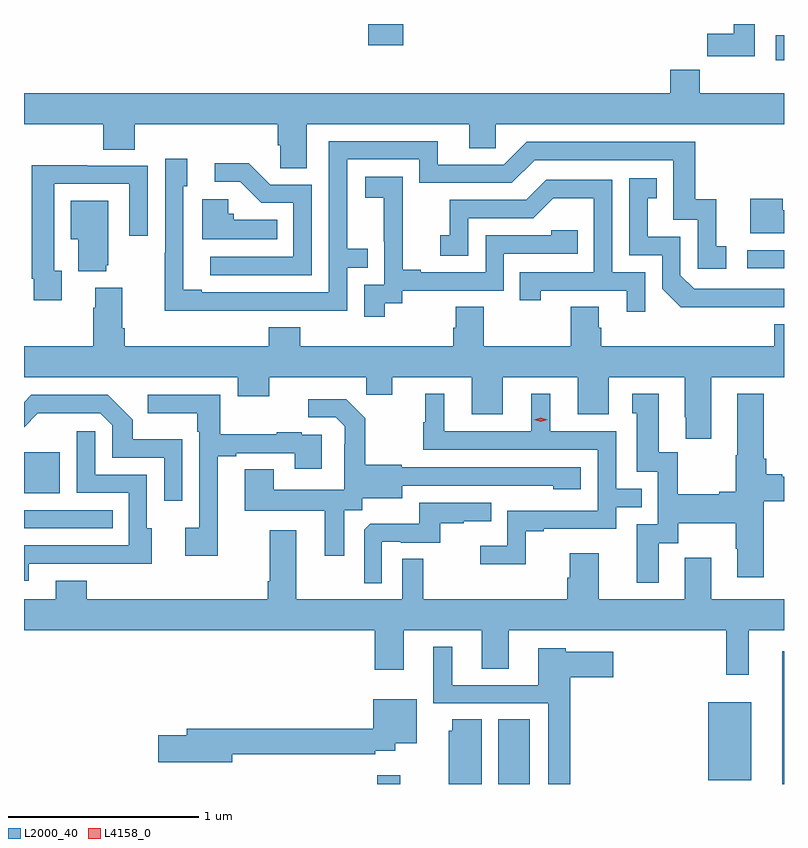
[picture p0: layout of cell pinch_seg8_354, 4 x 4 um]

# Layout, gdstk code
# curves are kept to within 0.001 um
import gdstk
lib = gdstk.Library(unit=1e-6, precision=1e-09)
def R(c, l, rs):  # rectangles x0, y0, x1, y1
    for r in rs: c.add(gdstk.rectangle(r[:2], r[2:], *l))
def P(c, l, *ps):  # polygons
    for p in ps: c.add(gdstk.Polygon(p, *l))
L2000_40 = (2000, 40)
L4158_0 = (4158, 0)

pinch_seg8_354 = lib.new_cell('pinch_seg8_354')
R(pinch_seg8_354, L2000_40, [(432.445,1098.376,432.566,1098.421), (433.082,1098.376,433.246,1098.716), (434.576,1098.376,434.585,1099.075), (434.186,1098.395,434.413,1098.805), (430.585,1099.722,431.051,1099.818), (430.585,1099.907,430.774,1100.122), (434.391,1101.09,434.585,1101.186), (434.541,1102.184,434.585,1102.318), (432.398,1102.263,432.581,1102.376)])
P(pinch_seg8_354, L2000_40, [(434.431,1102.376),(434.321,1102.376),(434.321,1102.324),(434.182,1102.324),(434.182,1102.206),(434.431,1102.206)],
  [(434.585,1102.012),(434.141,1102.012),(434.141,1102.136),(433.985,1102.136),(433.985,1102.012),(430.585,1102.012),(430.585,1101.848),(431.003,1101.848),(431.003,1101.715),(431.168,1101.715),(431.168,1101.848),(431.921,1101.848),(431.921,1101.739),(431.934,1101.739),(431.934,1101.616),(432.073,1101.616),(432.073,1101.848),(432.929,1101.848),(432.929,1101.721),(433.068,1101.721),(433.068,1101.848),(434.585,1101.848)],
  [(431.789,1100.868),(432.285,1100.868),(432.285,1101.093),(432.395,1101.093),(432.395,1101.194),(432.285,1101.194),(432.285,1101.663),(432.666,1101.663),(432.666,1101.54),(433.152,1101.54),(433.272,1101.66),(434.001,1101.66),(434.001,1101.345),(434.13,1101.345),(434.13,1101.087),(434.281,1101.087),(434.281,1101.207),(434.228,1101.207),(434.228,1101.454),(434.117,1101.454),(434.117,1101.756),(433.23,1101.756),(433.11,1101.636),(432.763,1101.636),(432.763,1101.759),(432.189,1101.759),(432.189,1100.964),(431.521,1100.964),(431.521,1100.977),(431.424,1100.977),(431.424,1101.522),(431.443,1101.522),(431.443,1101.667),(431.328,1101.667),(431.328,1101.173),(431.326,1101.173),(431.326,1100.867)],
  [(432.099,1101.531),(431.88,1101.531),(431.767,1101.644),(431.589,1101.644),(431.589,1101.546),(431.723,1101.546),(431.834,1101.435),(432.003,1101.435),(432.003,1101.15),(431.565,1101.15),(431.565,1101.054),(432.099,1101.054)],
  [(430.783,1101.078),(430.743,1101.078),(430.743,1101.534),(431.139,1101.534),(431.139,1101.261),(431.235,1101.261),(431.235,1101.63),(430.919,1101.63),(430.919,1101.632),(430.627,1101.632),(430.627,1101.034),(430.635,1101.034),(430.635,1100.922),(430.783,1100.922)],
  [(432.484,1100.905),(432.576,1100.905),(432.576,1100.973),(433.11,1100.973),(433.11,1101.168),(433.499,1101.168),(433.499,1101.291),(433.359,1101.291),(433.359,1101.264),(433.014,1101.264),(433.014,1101.069),(432.673,1101.069),(432.673,1101.082),(432.578,1101.082),(432.578,1101.365),(432.579,1101.365),(432.579,1101.571),(432.381,1101.571),(432.381,1101.461),(432.479,1101.461),(432.479,1101.233),(432.48,1101.233),(432.48,1101.003),(432.375,1101.003),(432.375,1100.835),(432.484,1100.835)],
  [(434.45,1100.886),(434.585,1100.886),(434.585,1100.982),(434.112,1100.982),(434.04,1101.054),(434.04,1101.255),(433.867,1101.255),(433.867,1101.459),(433.916,1101.459),(433.916,1101.565),(433.77,1101.565),(433.77,1101.159),(433.944,1101.159),(433.944,1100.982),(434.042,1100.885)],
  [(433.854,1101.069),(433.68,1101.069),(433.68,1101.555),(433.334,1101.555),(433.229,1101.45),(432.826,1101.45),(432.826,1101.265),(432.777,1101.265),(432.777,1101.156),(432.924,1101.156),(432.924,1101.354),(433.266,1101.354),(433.37,1101.458),(433.584,1101.458),(433.584,1101.069),(433.195,1101.069),(433.195,1100.922),(433.306,1100.922),(433.306,1100.973),(433.757,1100.973),(433.757,1100.862),(433.854,1100.862)],
  [(434.585,1101.397),(434.579,1101.397),(434.579,1101.457),(434.408,1101.457),(434.408,1101.275),(434.585,1101.275)],
  [(431.918,1101.346),(431.688,1101.346),(431.688,1101.378),(431.661,1101.378),(431.661,1101.454),(431.522,1101.454),(431.522,1101.242),(431.918,1101.242)],
  [(431.018,1101.105),(431.029,1101.105),(431.029,1101.445),(430.832,1101.445),(430.832,1101.242),(430.871,1101.242),(430.871,1101.074),(431.018,1101.074)],
  [(434.203,1100.516),(434.585,1100.516),(434.585,1100.797),(434.534,1100.797),(434.534,1100.68),(433.622,1100.68),(433.622,1100.778),(433.609,1100.778),(433.609,1100.888),(433.462,1100.888),(433.462,1100.68),(433.005,1100.68),(433.005,1100.888),(432.857,1100.888),(432.857,1100.778),(432.845,1100.778),(432.845,1100.68),(432.038,1100.68),(432.038,1100.779),(431.873,1100.779),(431.873,1100.68),(431.114,1100.68),(431.114,1100.776),(431.101,1100.776),(431.101,1100.989),(430.961,1100.989),(430.961,1100.882),(430.949,1100.882),(430.949,1100.68),(430.585,1100.68),(430.585,1100.516),(431.711,1100.516),(431.711,1100.417),(431.875,1100.417),(431.875,1100.516),(432.385,1100.516),(432.385,1100.426),(432.523,1100.426),(432.523,1100.516),(432.941,1100.516),(432.941,1100.322),(433.105,1100.322),(433.105,1100.516),(433.499,1100.516),(433.499,1100.322),(433.663,1100.322),(433.663,1100.516),(434.063,1100.516),(434.063,1100.305),(434.067,1100.305),(434.067,1100.193),(434.203,1100.193)],
  [(433.927,1099.642),(434.029,1099.642),(434.029,1099.748),(434.332,1099.748),(434.332,1099.614),(434.339,1099.614),(434.339,1099.464),(434.479,1099.464),(434.479,1099.864),(434.585,1099.864),(434.585,1099.993),(434.575,1099.993),(434.575,1100.006),(434.492,1100.006),(434.492,1100.089),(434.479,1100.089),(434.479,1100.431),(434.339,1100.431),(434.339,1100.105),(434.332,1100.105),(434.332,1099.913),(434.243,1099.913),(434.243,1099.9),(434.025,1099.9),(434.025,1100.123),(433.927,1100.123),(433.927,1100.431),(433.787,1100.431),(433.787,1100.328),(433.811,1100.328),(433.811,1100.019),(433.92,1100.019),(433.92,1099.743),(433.811,1099.743),(433.811,1099.434),(433.927,1099.434)],
  [(433.227,1099.707),(433.321,1099.707),(433.321,1099.719),(433.701,1099.719),(433.701,1099.833),(433.835,1099.833),(433.835,1099.929),(433.701,1099.929),(433.701,1100.232),(433.354,1100.232),(433.354,1100.431),(433.256,1100.431),(433.256,1100.232),(432.796,1100.232),(432.796,1100.431),(432.698,1100.431),(432.698,1100.28),(432.687,1100.28),(432.687,1100.136),(433.605,1100.136),(433.605,1099.815),(433.128,1099.815),(433.128,1099.63),(432.987,1099.63),(432.987,1099.532),(433.227,1099.532)],
  [(431.605,1100.1),(431.701,1100.1),(431.701,1100.118),(432.011,1100.118),(432.011,1100.034),(432.151,1100.034),(432.151,1100.214),(432.047,1100.214),(432.047,1100.227),(431.915,1100.227),(431.915,1100.216),(431.617,1100.216),(431.617,1100.424),(431.235,1100.424),(431.235,1100.327),(431.496,1100.327),(431.496,1100.231),(431.508,1100.231),(431.508,1099.726),(431.433,1099.726),(431.433,1099.578),(431.605,1099.578)],
  [(431.418,1100.191),(431.157,1100.191),(431.157,1100.294),(431.026,1100.424),(430.623,1100.424),(430.585,1100.386),(430.585,1100.254),(430.658,1100.327),(430.986,1100.328),(431.049,1100.265),(431.049,1100.094),(431.322,1100.094),(431.322,1099.866),(431.418,1099.866)],
  [(432.271,1099.816),(432.366,1099.816),(432.366,1099.88),(432.577,1099.88),(432.577,1099.947),(433.371,1099.946),(433.371,1099.928),(433.516,1099.928),(433.516,1100.043),(432.573,1100.043),(432.573,1100.056),(432.381,1100.056),(432.381,1100.301),(432.281,1100.401),(432.081,1100.401),(432.081,1100.307),(432.225,1100.307),(432.272,1100.26),(432.272,1100.165),(432.27,1100.165),(432.27,1099.924),(431.899,1099.924),(431.899,1100.033),(431.747,1100.033),(431.747,1099.814),(432.167,1099.814),(432.167,1099.578),(432.271,1099.578)],
  [(430.609,1099.536),(431.039,1099.536),(431.039,1099.535),(431.257,1099.535),(431.257,1099.722),(431.232,1099.722),(431.232,1100.004),(430.959,1100.004),(430.959,1100.233),(430.863,1100.233),(430.863,1099.908),(431.136,1099.908),(431.136,1099.632),(430.585,1099.632),(430.585,1099.446),(430.609,1099.446)],
  [(432.468,1099.65),(432.568,1099.65),(432.568,1099.647),(432.776,1099.647),(432.776,1099.749),(432.899,1099.749),(432.899,1099.76),(433.043,1099.76),(433.043,1099.857),(432.666,1099.857),(432.666,1099.745),(432.407,1099.745),(432.375,1099.713),(432.375,1099.433),(432.468,1099.433)],
  [(432.576,1099.348),(432.019,1099.348),(432.019,1099.711),(431.879,1099.711),(431.879,1099.444),(431.867,1099.444),(431.867,1099.348),(430.915,1099.348),(430.915,1099.447),(430.751,1099.447),(430.751,1099.348),(430.585,1099.348),(430.585,1099.184),(432.431,1099.184),(432.431,1098.978),(432.583,1098.978),(432.583,1099.184),(432.995,1099.184),(432.995,1098.982),(433.135,1098.982),(433.135,1099.184),(434.281,1099.184),(434.281,1098.951),(434.399,1098.951),(434.399,1099.184),(434.585,1099.184),(434.585,1099.348),(434.203,1099.348),(434.203,1099.567),(434.063,1099.567),(434.063,1099.348),(433.609,1099.348),(433.609,1099.591),(433.457,1099.591),(433.457,1099.461),(433.445,1099.461),(433.445,1099.348),(432.685,1099.348),(432.685,1099.562),(432.576,1099.562)],
  [(433.46,1098.938),(433.687,1098.938),(433.687,1099.072),(433.437,1099.072),(433.437,1099.09),(433.292,1099.09),(433.292,1098.897),(432.838,1098.897),(432.838,1099.099),(432.74,1099.099),(432.74,1098.801),(433.344,1098.801),(433.344,1098.376),(433.46,1098.376)],
  [(431.68,1098.532),(432.434,1098.532),(432.434,1098.551),(432.538,1098.551),(432.538,1098.59),(432.652,1098.59),(432.652,1098.823),(432.422,1098.823),(432.422,1098.668),(431.441,1098.668),(431.441,1098.632),(431.292,1098.632),(431.292,1098.49),(431.68,1098.49)],
  [(432.994,1098.716),(432.839,1098.716),(432.839,1098.657),(432.821,1098.657),(432.821,1098.376),(432.994,1098.376)])
P(pinch_seg8_354, L4158_0, [(433.305,1100.283),(433.269,1100.293),(433.269,1100.293),(433.269,1100.293),(433.305,1100.303),(433.341,1100.293),(433.341,1100.293),(433.341,1100.293)])

lib.write_gds('pinch_seg8_354.gds')
